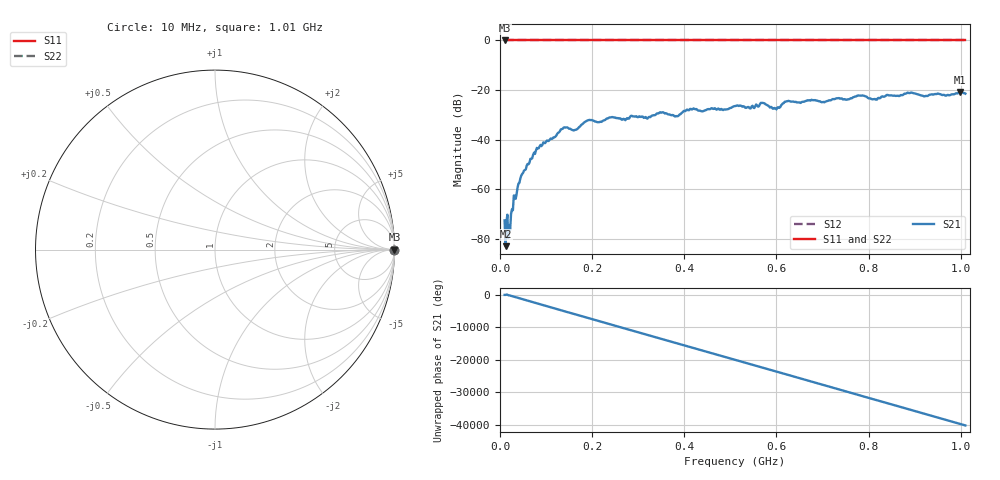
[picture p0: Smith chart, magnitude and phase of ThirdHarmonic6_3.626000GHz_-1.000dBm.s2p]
! 8/17/2025 12:09:02 PM
! C:\ANRITSUVNA\TEMP\TEMP.S2P
! CHANNEL.1
! TR.MEASUREMENT
! RAW.DATA
! RF.CORRECTION.OFF
! AVERAGING.OFF
! IF.BANDWIDTH: 5KHZ
! SWEEPTYPE:  FREQ.SWEEP(Linear)
! Reference Plane Port Info
! PORT:  PORT1  PORT2
! DISTANCE:  0  m  0  m
! TIME:  0  s  0  s
! PHASE.OFFSET:  0  deg.  0  deg.
! LOSS:  0  dB  0  dB
! REF.LOSS:  0  dB  0  dB
! REF.FREQ:  0  Hz  0  Hz
! Power Info
! POWER:  -20  dBm  -20  dBm
! EFF.POWER:  -20  dBm  -20  dBm
! SOURCE.ATTEN:  0  dB  0  dB
! TEST.ATTEN:  0  dB  0  dB
# GHZ S RI R 50.0
! FREQ.GHZ  S11RE  S11IM  S21RE  S21IM  S12RE  S12IM  S22RE  S22IM
!; PortSelection: Port_12
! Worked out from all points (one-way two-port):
!   501 points, 10 MHz to 1.01 GHz, reference 50 ohm
!   highest |S21| = -20.78 dB at 998 MHz (marker M1); lowest = -83.0 dB at 12 MHz (marker M2)
!   lowest |S11| = 0.0 dB at 10 MHz (marker M3)
!   |S11| at or under -10 dB: nowhere
!   |S22| runs from 0.0 to 0.0 dB; largest |S21 - S12| = 1.1
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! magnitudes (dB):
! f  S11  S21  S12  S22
! 10 MHz  0.0  -72.6  0.0  0.0
! 12 MHz  0.0  -83.0  0.0  0.0
! 16 MHz  0.0  -70.3  0.0  0.0
! 22 MHz  0.0  -76.4  0.0  0.0
! 28 MHz  0.0  -68.5  0.0  0.0
! 44 MHz  0.0  -55.8  0.0  0.0
! 82 MHz  0.0  -43.6  0.0  0.0
! 136 MHz  0.0  -35.6  0.0  0.0
! 162 MHz  0.0  -36.1  0.0  0.0
! 178 MHz  0.0  -33.8  0.0  0.0
! 194 MHz  0.0  -32.0  0.0  0.0
! 344 MHz  0.0  -29.4  0.0  0.0
! 382 MHz  0.0  -30.5  0.0  0.0
! 416 MHz  0.0  -27.9  0.0  0.0
! 510 MHz  0.0  -26.4  0.0  0.0
! 570 MHz  0.0  -25.2  0.0  0.0
! 596 MHz  0.0  -27.2  0.0  0.0
! 622 MHz  0.0  -24.5  0.0  0.0
! 678 MHz  0.0  -24.1  0.0  0.0
! 844 MHz  0.0  -22.1  0.0  0.0
! 998 MHz  0.0  -20.8  0.0  0.0
! 1.01 GHz  0.0  -21.4  0.0  0.0
